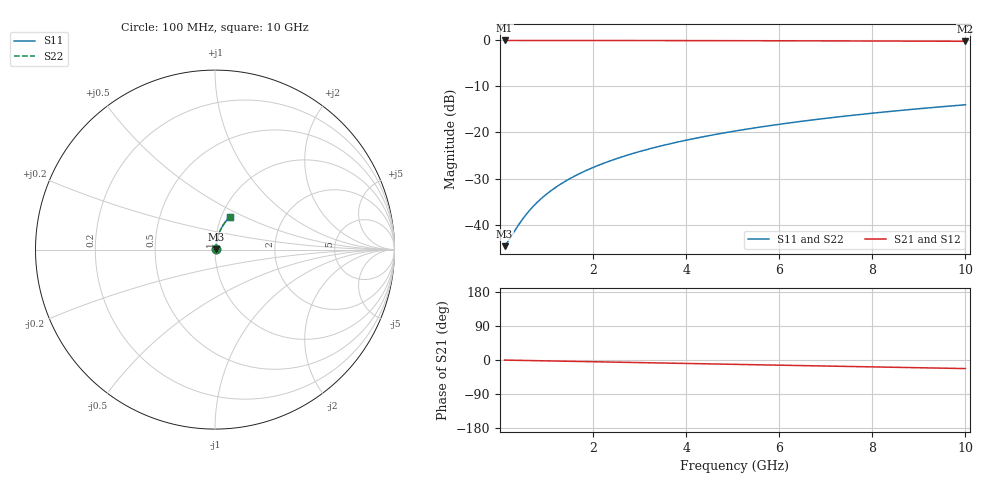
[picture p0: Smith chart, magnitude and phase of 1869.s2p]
# Hz S RI R 50.00
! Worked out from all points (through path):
!   100 points, 100 MHz to 10 GHz, reference 50 ohm
!   highest |S21| = -0.05 dB at 100 MHz (marker M1); lowest = -0.2 dB at 10 GHz (marker M2)
!   group delay of S21, straight-line fit = 6.29 ps
!   lowest |S11| = -44.7 dB at 100 MHz (marker M3), VSWR 1.01, Z = 50.5 + j0.207 ohm
!   |S11| at or under -10 dB: start of sweep to end of sweep
!   |S22| runs from -44.7 to -14.0 dB; largest |S21 - S12| = 0
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1e8  0.00546 0.00204  0.9945 -0.00396  0.9945 -0.00396  0.00546 0.00204
2e8  0.00552 0.00409  0.9945 -0.00793  0.9945 -0.00793  0.00552 0.00409
4e8  0.00567 0.00817  0.9943 -0.0158  0.9943 -0.0158  0.00567 0.00817
5e8  0.00576 0.0102  0.9942 -0.0198  0.9942 -0.0198  0.00576 0.0102
6e8  0.00586 0.0123  0.9941 -0.0238  0.9941 -0.0238  0.00586 0.0123
7e8  0.00598 0.0143  0.9939 -0.0277  0.9939 -0.0277  0.00598 0.0143
8e8  0.00612 0.0163  0.9937 -0.0317  0.9937 -0.0317  0.00612 0.0163
1e9  0.00643 0.0204  0.9934 -0.0396  0.9934 -0.0396  0.00643 0.0204
1.2e9  0.00681 0.0245  0.9929 -0.0475  0.9929 -0.0475  0.00681 0.0245
1.5e9  0.0075 0.0306  0.9921 -0.0594  0.9921 -0.0594  0.0075 0.0306
1.8e9  0.00832 0.0366  0.991 -0.0712  0.991 -0.0712  0.00832 0.0366
2.1e9  0.00929 0.0427  0.9899 -0.083  0.9899 -0.083  0.00929 0.0427
2.5e9  0.0108 0.0507  0.988 -0.0987  0.988 -0.0987  0.0108 0.0507
2.9e9  0.0126 0.0586  0.9858 -0.1144  0.9858 -0.1144  0.0126 0.0586
3.4e9  0.0151 0.0685  0.9827 -0.1338  0.9827 -0.1338  0.0151 0.0685
4.2e9  0.02 0.084  0.9766 -0.1648  0.9766 -0.1648  0.02 0.084
5.1e9  0.0267 0.101  0.9684 -0.1991  0.9684 -0.1991  0.0267 0.101
5.9e9  0.0336 0.1157  0.9598 -0.2292  0.9598 -0.2292  0.0336 0.1157
6.7e9  0.0414 0.1298  0.9501 -0.2589  0.9501 -0.2589  0.0414 0.1298
7.5e9  0.05 0.1434  0.9393 -0.2879  0.9393 -0.2879  0.05 0.1434
8.4e9  0.0607 0.158  0.9259 -0.32  0.9259 -0.32  0.0607 0.158
1e10  0.082 0.1817  0.8989 -0.3748  0.8989 -0.3748  0.082 0.1817
